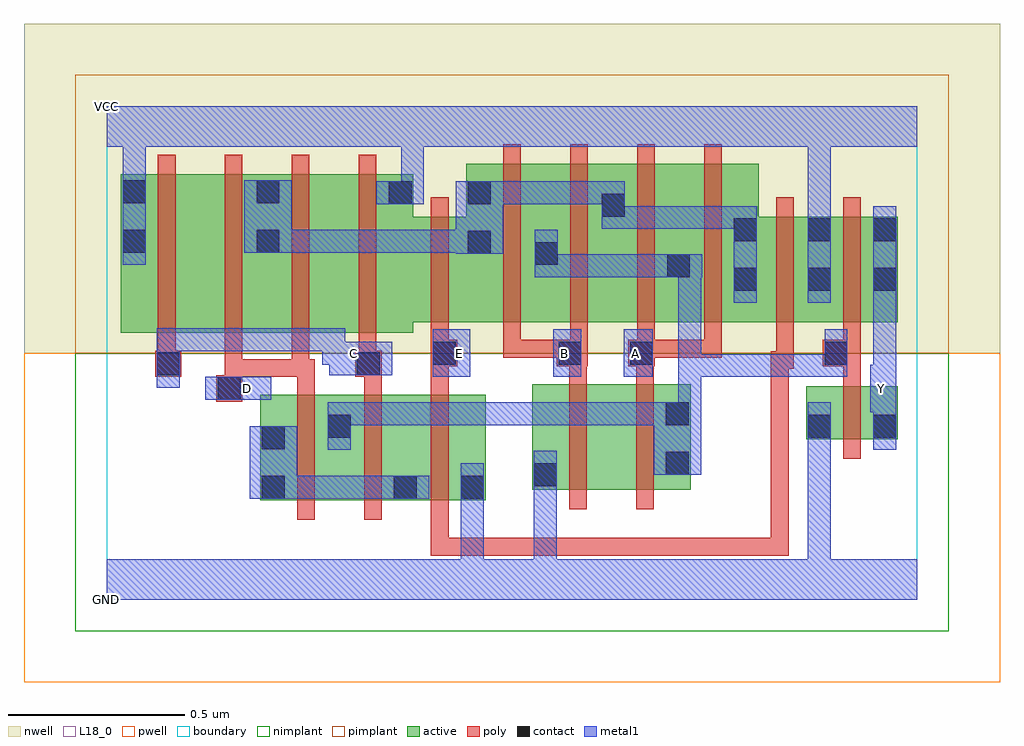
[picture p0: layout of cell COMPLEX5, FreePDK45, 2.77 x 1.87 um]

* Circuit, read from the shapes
.subckt COMPLEX5 A B C D E GND VCC Y
M1 n1 D n2 VSUBS nfet w=0.3u l=0.05u
M2 n2 C n1 VSUBS nfet w=0.3u l=0.05u
M3 GND E n2 VSUBS nfet w=0.3u l=0.05u
M4 n3 B GND VSUBS nfet w=0.3u l=0.05u
M5 n1 A n3 VSUBS nfet w=0.3u l=0.05u
M6 Y n1 GND VSUBS nfet w=0.15u l=0.05u
M7 n4 C VCC n5 pfet w=0.45u l=0.05u
M8 n6 D n4 n5 pfet w=0.45u l=0.05u
M9 n7 D n6 n5 pfet w=0.45u l=0.05u
M10 VCC C n7 n5 pfet w=0.45u l=0.05u
M11 n6 E VCC n5 pfet w=0.3u l=0.05u m=2
M12 n1 B n6 n5 pfet w=0.45u l=0.05u m=2
M13 n1 A n6 n5 pfet w=0.45u l=0.05u m=2
M14 Y n1 VCC n5 pfet w=0.3u l=0.05u
.ends

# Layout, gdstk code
import gdstk
lib = gdstk.Library(unit=1e-6, precision=1e-09)
def R(c, l, rs):  # rectangles x0, y0, x1, y1
    for r in rs: c.add(gdstk.rectangle(r[:2], r[2:], *l))
def A(c, l, x, y, w, h, nx, ny, dx, dy):  # array of equal rectangles
    R(c, l, [(x+i*dx, y+j*dy, x+i*dx+w, y+j*dy+h) for i in range(nx) for j in range(ny)])
active = (1, 0)
pwell = (2, 0)
nwell = (3, 0)
nimplant = (4, 0)
pimplant = (5, 0)
poly = (9, 0)
contact = (10, 0)
metal1 = (11, 0)
L18_0 = (18, 0)
boundary = (235, 0)

complex5 = lib.new_cell('COMPLEX5')
R(complex5, active, [(0.435,0.282,0.51,0.582), (0.435,0.282,0.697,0.582), (0.622,0.282,0.885,0.582), (0.81,0.282,1.075,0.582), (0.81,0.282,0.885,0.547), (1,0.282,1.075,0.582), (1.207,0.312,1.432,0.612), (1.207,0.312,1.282,0.612), (1.432,0.312,1.657,0.612), (0.622,0.33,0.697,0.53), (1.582,0.345,1.657,0.612), (1.985,0.455,2.06,0.605), (1.985,0.455,2.245,0.605), (2.17,0.455,2.245,0.605), (0.04,0.757,0.265,1.207), (0.04,0.757,0.115,1.207), (0.265,0.757,0.495,1.207), (0.42,0.757,0.645,1.207), (0.42,0.757,0.495,1.2), (0.645,0.757,0.87,1.207), (0.795,0.787,1.095,1.087), (1.02,0.787,1.095,1.2), (1.02,0.787,1.285,1.237), (1.21,0.787,1.475,1.237), (1.21,0.787,1.285,1.07), (1.4,0.787,1.66,1.237), (1.585,0.787,1.85,1.237), (1.585,0.787,1.66,1.07), (1.775,0.787,2.06,1.087), (1.775,0.787,1.85,1.2), (1.985,0.787,2.06,1.087), (1.985,0.787,2.245,1.087), (2.17,0.787,2.245,1.087), (1.4,0.857,1.475,1.2), (0.795,1.007,0.87,1.207)])
R(complex5, pwell, [(-0.235,-0.235,2.535,0.7)])
R(complex5, nwell, [(-0.235,0.7,2.535,1.635)])
R(complex5, nimplant, [(-0.09,-0.09,2.39,0.7)])
R(complex5, pimplant, [(-0.09,0.7,2.39,1.49)])
A(complex5, poly, 0.54, 0.227, 0.05, 0.41, 3, 1, 0.19, 0)
A(complex5, poly, 1.125, 0.687, 0.05, 0.095, 4, 1, 0.19, 0)
A(complex5, poly, 0.145, 0.702, 0.05, 0.56, 4, 1, 0.19, 0)
A(complex5, poly, 1.125, 0.732, 0.05, 0.56, 4, 1, 0.19, 0)
R(complex5, poly, [(0.92,0.125,0.97,0.175), (0.92,0.125,0.97,0.175), (0.92,0.125,0.97,0.175), (0.92,0.125,1.127,0.175), (0.92,0.125,0.97,0.277), (1.077,0.125,1.127,0.175), (1.077,0.125,1.127,0.175), (1.077,0.125,1.127,0.175), (1.077,0.125,1.397,0.175), (1.347,0.125,1.397,0.175), (1.347,0.125,1.46,0.175), (1.41,0.125,1.46,0.175), (1.41,0.125,1.612,0.175), (1.562,0.125,1.612,0.175), (1.562,0.125,1.612,0.175), (1.562,0.125,1.612,0.175), (1.562,0.125,1.745,0.175), (1.695,0.125,1.745,0.175), (1.695,0.125,1.935,0.175), (1.885,0.125,1.935,0.705), (1.885,0.125,1.935,0.175), (1.885,0.125,1.935,0.175), (1.885,0.125,1.935,0.175), (1.885,0.125,1.935,0.175), (1.885,0.125,1.935,0.175), (1.885,0.125,1.935,0.175), (1.885,0.125,1.935,0.175), (1.885,0.125,1.935,0.175), (1.885,0.125,1.935,0.175), (1.312,0.257,1.362,0.667), (1.502,0.257,1.552,0.667), (2.09,0.4,2.14,0.66), (0.31,0.562,0.385,0.637), (0.335,0.587,0.385,0.682), (0.54,0.587,0.59,0.682), (0.73,0.587,0.78,0.682), (0.92,0.587,0.97,0.712), (2.09,0.61,2.14,0.712), (1.312,0.617,1.362,0.712), (1.502,0.617,1.552,0.712), (0.137,0.632,0.212,0.707), (0.335,0.632,0.385,0.682), (0.335,0.632,0.385,0.682), (0.335,0.632,0.385,0.682), (0.335,0.632,0.385,0.682), (0.335,0.632,0.385,0.682), (0.335,0.632,0.575,0.682), (0.335,0.632,0.385,0.752), (0.525,0.632,0.59,0.682), (0.525,0.632,0.575,0.752), (0.705,0.632,0.78,0.707), (1.885,0.655,1.95,0.705), (1.9,0.655,1.95,0.782), (0.145,0.657,0.195,0.752), (0.715,0.657,0.765,0.752), (0.92,0.662,0.995,0.737), (1.277,0.662,1.365,0.737), (1.48,0.662,1.555,0.737), (2.032,0.662,2.14,0.737), (0.92,0.687,0.97,0.782), (1.125,0.687,1.175,0.737), (1.125,0.687,1.327,0.737), (1.277,0.687,1.327,0.737), (1.277,0.687,1.327,0.737), (1.505,0.687,1.745,0.737), (1.695,0.687,1.745,0.737), (1.695,0.687,1.745,0.737), (1.695,0.687,1.745,0.737), (2.09,0.687,2.14,0.782), (0.92,0.732,0.97,1.142), (1.9,0.732,1.95,1.142), (2.09,0.732,2.14,1.142)])
R(complex5, contact, [(0.44,0.287,0.505,0.352), (0.815,0.287,0.88,0.352), (1.005,0.287,1.07,0.352), (1.212,0.322,1.277,0.387), (1.587,0.355,1.652,0.42), (0.44,0.427,0.505,0.492), (0.627,0.46,0.692,0.525), (1.99,0.46,2.055,0.525), (2.175,0.46,2.24,0.525), (1.587,0.495,1.652,0.56), (0.315,0.567,0.38,0.632), (0.142,0.637,0.207,0.702), (0.71,0.637,0.775,0.702), (0.925,0.667,0.99,0.732), (1.282,0.667,1.347,0.732), (1.485,0.667,1.55,0.732), (2.037,0.667,2.102,0.732), (1.78,0.877,1.845,0.942), (1.99,0.877,2.055,0.942), (2.175,0.877,2.24,0.942), (1.59,0.915,1.655,0.98), (1.215,0.95,1.28,1.015), (1.025,0.982,1.09,1.047), (0.045,0.985,0.11,1.05), (0.425,0.985,0.49,1.05), (1.78,1.017,1.845,1.082), (1.99,1.017,2.055,1.082), (2.175,1.017,2.24,1.082), (1.405,1.087,1.47,1.152), (0.8,1.122,0.865,1.187), (1.025,1.122,1.09,1.187), (0.045,1.125,0.11,1.19), (0.425,1.125,0.49,1.19)])
R(complex5, metal1, [(0,0,2.3,0.115), (1.005,0.05,1.07,0.115), (1.005,0.05,1.07,0.115), (1.005,0.05,1.07,0.115), (1.005,0.05,1.07,0.115), (1.005,0.05,1.07,0.317), (1.212,0.05,1.277,0.352), (1.99,0.05,2.055,0.115), (1.99,0.05,2.055,0.115), (1.99,0.05,2.055,0.115), (1.99,0.05,2.055,0.115), (1.99,0.05,2.055,0.115), (1.99,0.05,2.055,0.115), (1.99,0.05,2.055,0.49), (1.005,0.252,1.07,0.387), (0.405,0.287,0.54,0.492), (0.475,0.287,0.54,0.352), (0.475,0.287,0.54,0.352), (0.475,0.287,0.677,0.352), (0.612,0.287,0.677,0.352), (0.612,0.287,0.845,0.352), (0.78,0.287,0.845,0.352), (0.78,0.287,0.845,0.352), (0.78,0.287,0.915,0.352), (1.212,0.287,1.277,0.422), (1.212,0.287,1.277,0.352), (1.212,0.287,1.277,0.352), (1.212,0.287,1.277,0.352), (1.212,0.287,1.277,0.352), (1.552,0.355,1.687,0.56), (0.627,0.425,0.692,0.56), (1.99,0.425,2.055,0.56), (2.175,0.425,2.24,0.56), (0.627,0.495,0.85,0.56), (0.785,0.495,0.85,0.56), (0.785,0.495,0.85,0.56), (0.785,0.495,0.85,0.56), (0.785,0.495,0.987,0.56), (0.922,0.495,0.987,0.56), (0.922,0.495,1.14,0.56), (1.075,0.495,1.28,0.56), (1.075,0.495,1.14,0.56), (1.075,0.495,1.14,0.56), (1.075,0.495,1.14,0.56), (1.215,0.495,1.28,0.56), (1.215,0.495,1.28,0.56), (1.215,0.495,1.28,0.56), (1.215,0.495,1.47,0.56), (1.405,0.495,1.47,0.56), (1.405,0.495,1.47,0.56), (1.405,0.495,1.47,0.56), (1.405,0.495,1.617,0.56), (1.622,0.495,1.687,0.697), (2.175,0.495,2.24,0.597), (2.167,0.532,2.24,0.667), (0.28,0.567,0.467,0.632), (0.142,0.602,0.207,0.737), (2.175,0.602,2.24,0.907), (0.925,0.632,1.032,0.767), (1.267,0.632,1.347,0.767), (1.467,0.632,1.55,0.767), (1.622,0.632,1.687,0.697), (1.622,0.632,1.687,0.697), (1.622,0.632,1.687,0.697), (1.622,0.632,1.825,0.697), (1.622,0.632,1.687,0.98), (1.76,0.632,1.825,0.697), (1.76,0.632,1.962,0.697), (1.897,0.632,2.102,0.697), (1.897,0.632,1.962,0.697), (1.897,0.632,1.962,0.697), (1.897,0.632,1.962,0.697), (2.037,0.632,2.102,0.767), (0.632,0.637,0.81,0.732), (0.612,0.667,0.697,0.732), (0.612,0.667,0.677,0.77), (0.142,0.672,0.207,0.737), (0.142,0.672,0.207,0.77), (0.142,0.705,0.345,0.77), (0.28,0.705,0.345,0.77), (0.28,0.705,0.345,0.77), (0.28,0.705,0.345,0.77), (0.28,0.705,0.56,0.77), (0.495,0.705,0.56,0.77), (0.495,0.705,0.677,0.77), (1.78,0.842,1.845,1.117), (1.99,0.842,2.055,1.117), (2.175,0.842,2.24,1.117), (1.215,0.915,1.28,1.05), (1.215,0.915,1.28,0.98), (1.215,0.915,1.28,0.98), (1.215,0.915,1.417,0.98), (1.352,0.915,1.417,0.98), (1.352,0.915,1.417,0.98), (1.352,0.915,1.417,0.98), (1.352,0.915,1.62,0.98), (1.555,0.915,1.69,0.98), (0.045,0.95,0.11,1.225), (0.99,0.982,1.125,1.187), (0.39,0.985,0.525,1.19), (0.46,0.985,0.525,1.05), (0.46,0.985,0.525,1.05), (0.46,0.985,0.692,1.05), (0.627,0.985,0.692,1.05), (0.627,0.985,0.85,1.05), (0.785,0.985,0.85,1.05), (0.785,0.985,0.85,1.05), (0.785,0.985,0.85,1.05), (0.785,0.985,0.987,1.05), (0.922,0.985,0.987,1.05), (0.922,0.985,1.055,1.05), (1.405,1.052,1.47,1.187), (1.405,1.052,1.47,1.117), (1.405,1.052,1.47,1.117), (1.405,1.052,1.607,1.117), (1.542,1.052,1.607,1.117), (1.542,1.052,1.687,1.117), (1.622,1.052,1.687,1.117), (1.622,1.052,1.845,1.117), (1.99,1.052,2.055,1.35), (0.765,1.122,0.9,1.187), (0.835,1.122,0.9,1.35), (1.06,1.122,1.125,1.187), (1.06,1.122,1.125,1.187), (1.06,1.122,1.125,1.187), (1.06,1.122,1.125,1.187), (1.06,1.122,1.277,1.187), (1.212,1.122,1.277,1.187), (1.212,1.122,1.277,1.187), (1.212,1.122,1.277,1.187), (1.212,1.122,1.47,1.187), (0.045,1.16,0.11,1.35), (0,1.285,2.3,1.4), (1.99,1.285,2.055,1.35), (1.99,1.285,2.055,1.35)])
A(complex5, L18_0, 0.667, 0.667, 0.065, 0.065, 3, 1, 0.3, 0)
R(complex5, L18_0, [(0,0,2.3,0.115), (1.005,0.05,1.07,0.115), (1.005,0.05,1.07,0.115), (1.005,0.05,1.07,0.115), (1.005,0.05,1.07,0.115), (1.005,0.05,1.07,0.317), (1.212,0.05,1.277,0.352), (1.99,0.05,2.055,0.115), (1.99,0.05,2.055,0.115), (1.99,0.05,2.055,0.115), (1.99,0.05,2.055,0.115), (1.99,0.05,2.055,0.115), (1.99,0.05,2.055,0.115), (1.99,0.05,2.055,0.49), (1.005,0.252,1.07,0.387), (1.212,0.287,1.277,0.422), (1.212,0.287,1.277,0.352), (1.212,0.287,1.277,0.352), (1.212,0.287,1.277,0.352), (1.212,0.287,1.277,0.352), (1.99,0.425,2.055,0.56), (2.175,0.425,2.24,0.56), (2.175,0.495,2.24,0.597), (2.167,0.532,2.24,0.667), (0.28,0.567,0.467,0.632), (0.367,0.567,0.432,0.632), (2.167,0.567,2.232,0.632), (0.142,0.602,0.207,0.737), (2.175,0.602,2.24,0.907), (0.925,0.632,1.032,0.767), (1.267,0.632,1.347,0.767), (1.467,0.632,1.55,0.767), (0.632,0.637,0.81,0.732), (0.612,0.667,0.677,0.77), (0.612,0.667,0.697,0.732), (1.467,0.667,1.532,0.732), (0.142,0.672,0.207,0.77), (0.142,0.672,0.207,0.737), (0.142,0.705,0.345,0.77), (0.28,0.705,0.345,0.77), (0.28,0.705,0.345,0.77), (0.28,0.705,0.345,0.77), (0.28,0.705,0.56,0.77), (0.495,0.705,0.56,0.77), (0.495,0.705,0.677,0.77), (1.99,0.842,2.055,1.117), (2.175,0.842,2.24,1.117), (0.045,0.95,0.11,1.225), (1.99,1.052,2.055,1.35), (0.765,1.122,0.9,1.187), (0.835,1.122,0.9,1.35), (0.045,1.16,0.11,1.35), (0,1.285,2.3,1.4), (1.99,1.285,2.055,1.35), (1.99,1.285,2.055,1.35)])
R(complex5, boundary, [(0,0,2.3,1.4)])
complex5.add(gdstk.Label('A', (1.5,0.7), layer=11, texttype=0))
complex5.add(gdstk.Label('B', (1.3,0.7), layer=11, texttype=0))
complex5.add(gdstk.Label('C', (0.7,0.7), layer=11, texttype=0))
complex5.add(gdstk.Label('D', (0.4,0.6), layer=11, texttype=0))
complex5.add(gdstk.Label('E', (1,0.7), layer=11, texttype=0))
complex5.add(gdstk.Label('Y', (2.2,0.6), layer=11, texttype=0))
complex5.add(gdstk.Label('VCC', (0,1.4), layer=11, texttype=0))
complex5.add(gdstk.Label('GND', (0,0), layer=11, texttype=0))

lib.write_gds('COMPLEX5.gds')
